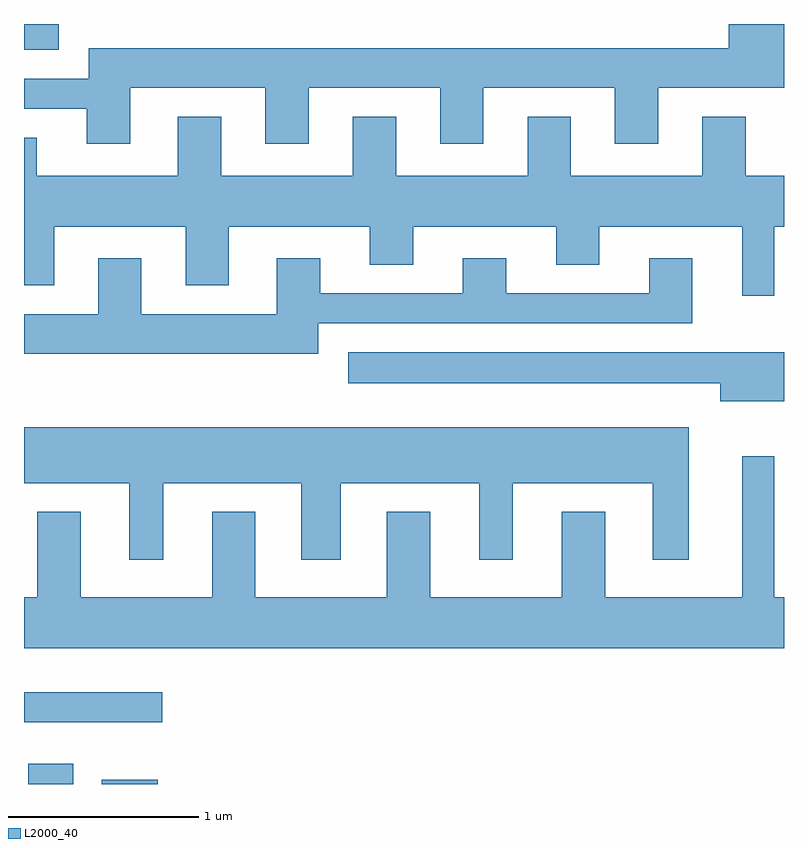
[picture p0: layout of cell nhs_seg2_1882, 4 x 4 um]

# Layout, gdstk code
import gdstk
lib = gdstk.Library(unit=1e-6, precision=1e-09)
def R(c, l, rs):  # rectangles x0, y0, x1, y1
    for r in rs: c.add(gdstk.rectangle(r[:2], r[2:], *l))
def P(c, l, *ps):  # polygons
    for p in ps: c.add(gdstk.Polygon(p, *l))
L2000_40 = (2000, 40)

nhs_seg2_1882 = lib.new_cell('nhs_seg2_1882')
R(nhs_seg2_1882, L2000_40, [(239.633,1069.802,239.869,1069.909), (240.021,1069.802,240.314,1069.824), (239.611,1070.126,240.338,1070.284), (239.611,1073.666,239.793,1073.802)])
P(nhs_seg2_1882, L2000_40, [(240.169,1073.466),(240.881,1073.466),(240.881,1073.171),(241.109,1073.171),(241.109,1073.466),(241.801,1073.466),(241.801,1073.171),(242.029,1073.171),(242.029,1073.466),(242.721,1073.466),(242.721,1073.171),(242.949,1073.171),(242.949,1073.466),(243.611,1073.466),(243.611,1073.802),(243.321,1073.802),(243.321,1073.674),(239.951,1073.674),(239.951,1073.514),(239.611,1073.514),(239.611,1073.356),(239.941,1073.356),(239.941,1073.171),(240.169,1073.171)],
  [(243.559,1072.736),(243.611,1072.736),(243.611,1073.004),(243.409,1073.004),(243.409,1073.314),(243.181,1073.314),(243.181,1073.004),(242.489,1073.004),(242.489,1073.314),(242.261,1073.314),(242.261,1073.004),(241.569,1073.004),(241.569,1073.314),(241.341,1073.314),(241.341,1073.004),(240.649,1073.004),(240.649,1073.314),(240.421,1073.314),(240.421,1073.004),(239.679,1073.004),(239.679,1073.204),(239.611,1073.204),(239.611,1072.426),(239.769,1072.426),(239.769,1072.736),(240.461,1072.736),(240.461,1072.426),(240.689,1072.426),(240.689,1072.736),(241.431,1072.736),(241.431,1072.536),(241.659,1072.536),(241.659,1072.736),(242.411,1072.736),(242.411,1072.536),(242.639,1072.536),(242.639,1072.736),(243.391,1072.736),(243.391,1072.373),(243.559,1072.373)],
  [(241.159,1072.226),(243.129,1072.226),(243.129,1072.569),(242.901,1072.569),(242.901,1072.384),(242.149,1072.384),(242.149,1072.569),(241.921,1072.569),(241.921,1072.384),(241.169,1072.384),(241.169,1072.569),(240.941,1072.569),(240.941,1072.274),(240.229,1072.274),(240.229,1072.569),(240.001,1072.569),(240.001,1072.274),(239.611,1072.274),(239.611,1072.066),(241.159,1072.066)],
  [(243.611,1072.074),(241.318,1072.074),(241.318,1071.911),(243.276,1071.911),(243.276,1071.816),(243.611,1071.816)],
  [(240.344,1071.386),(241.071,1071.386),(241.071,1070.981),(241.279,1070.981),(241.279,1071.386),(242.006,1071.386),(242.006,1070.981),(242.184,1070.981),(242.184,1071.386),(242.921,1071.386),(242.921,1070.981),(243.109,1070.981),(243.109,1071.679),(239.611,1071.679),(239.611,1071.386),(240.166,1071.386),(240.166,1070.981),(240.344,1070.981)],
  [(243.611,1070.784),(243.559,1070.784),(243.559,1071.528),(243.391,1071.528),(243.391,1070.784),(242.669,1070.784),(242.669,1071.234),(242.441,1071.234),(242.441,1070.784),(241.749,1070.784),(241.749,1071.234),(241.521,1071.234),(241.521,1070.784),(240.829,1070.784),(240.829,1071.234),(240.601,1071.234),(240.601,1070.784),(239.909,1070.784),(239.909,1071.234),(239.681,1071.234),(239.681,1070.784),(239.611,1070.784),(239.611,1070.516),(243.611,1070.516)])

lib.write_gds('nhs_seg2_1882.gds')
